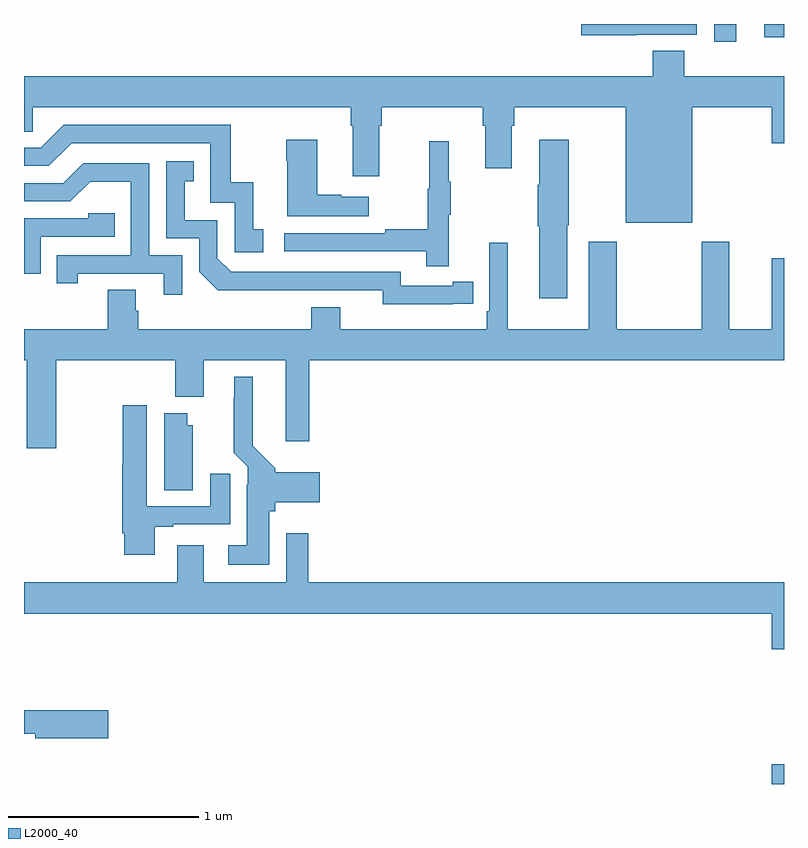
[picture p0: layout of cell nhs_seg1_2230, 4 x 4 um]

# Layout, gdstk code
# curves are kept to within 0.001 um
import gdstk
lib = gdstk.Library(unit=1e-6, precision=1e-09)
def R(c, l, rs):  # rectangles x0, y0, x1, y1
    for r in rs: c.add(gdstk.rectangle(r[:2], r[2:], *l))
def P(c, l, *ps):  # polygons
    for p in ps: c.add(gdstk.Polygon(p, *l))
L2000_40 = (2000, 40)

nhs_seg1_2230 = lib.new_cell('nhs_seg1_2230')
R(nhs_seg1_2230, L2000_40, [(236.936,520.199,237,520.303), (236.634,524.106,236.749,524.199), (236.895,524.129,237,524.199)])
P(nhs_seg1_2230, L2000_40, [(236.225,524.142),(236.541,524.142),(236.541,524.199),(235.933,524.199),(235.933,524.141),(236.225,524.141)],
  [(236.518,523.76),(236.936,523.76),(236.936,523.572),(237,523.572),(237,523.924),(236.474,523.924),(236.474,524.057),(236.309,524.057),(236.309,523.924),(233,523.924),(233,523.633),(233.046,523.633),(233.046,523.76),(234.719,523.76),(234.719,523.664),(234.731,523.664),(234.731,523.398),(234.871,523.398),(234.871,523.664),(234.884,523.664),(234.884,523.76),(235.415,523.76),(235.415,523.664),(235.427,523.664),(235.427,523.44),(235.567,523.44),(235.567,523.664),(235.58,523.664),(235.58,523.76),(236.168,523.76),(236.168,523.154),(236.518,523.154)],
  [(234.259,523.119),(234.206,523.119),(234.206,523.366),(234.088,523.366),(234.088,523.668),(233.208,523.668),(233.088,523.548),(233,523.548),(233,523.452),(233.13,523.452),(233.25,523.572),(233.979,523.572),(233.979,523.257),(234.108,523.257),(234.108,522.999),(234.259,522.999)],
  [(235.858,523.141),(235.866,523.141),(235.866,523.591),(235.712,523.591),(235.712,523.352),(235.705,523.352),(235.705,523.135),(235.712,523.135),(235.712,522.756),(235.858,522.756)],
  [(234.814,523.291),(234.671,523.291),(234.671,523.301),(234.544,523.301),(234.544,523.591),(234.379,523.591),(234.379,523.478),(234.386,523.478),(234.386,523.187),(234.814,523.187)],
  [(235.235,523.195),(235.246,523.195),(235.246,523.369),(235.235,523.369),(235.235,523.582),(235.132,523.582),(235.132,523.332),(235.125,523.332),(235.125,523.118),(234.901,523.118),(234.901,523.098),(234.369,523.098),(234.369,523.002),(235.117,523.002),(235.117,522.924),(235.235,522.924)],
  [(235.256,522.726),(235.364,522.726),(235.364,522.842),(235.256,522.842),(235.256,522.822),(234.984,522.822),(234.984,522.894),(234.09,522.894),(234.018,522.966),(234.018,523.167),(233.845,523.167),(233.845,523.371),(233.894,523.371),(233.894,523.477),(233.748,523.477),(233.748,523.071),(233.922,523.071),(233.922,522.894),(234.02,522.797),(234.888,522.798),(234.888,522.725)],
  [(233.832,522.981),(233.658,522.981),(233.658,523.467),(233.312,523.467),(233.207,523.362),(233,523.362),(233,523.266),(233.244,523.266),(233.348,523.37),(233.562,523.37),(233.562,522.981),(233.173,522.981),(233.173,522.834),(233.284,522.834),(233.284,522.885),(233.735,522.885),(233.735,522.774),(233.832,522.774)],
  [(233.088,523.08),(233.477,523.08),(233.477,523.203),(233.337,523.203),(233.337,523.176),(233,523.176),(233,522.885),(233.088,522.885)],
  [(233.169,522.428),(233.795,522.428),(233.795,522.236),(233.947,522.236),(233.947,522.428),(234.377,522.428),(234.377,522.003),(234.5,522.003),(234.5,522.428),(237,522.428),(237,522.967),(236.936,522.967),(236.936,522.592),(236.713,522.592),(236.713,523.054),(236.566,523.054),(236.566,522.592),(236.121,522.592),(236.121,523.054),(235.973,523.054),(235.973,522.592),(235.546,522.592),(235.546,523.048),(235.449,523.048),(235.449,522.688),(235.436,522.688),(235.436,522.592),(234.664,522.592),(234.664,522.709),(234.512,522.709),(234.512,522.592),(233.6,522.592),(233.6,522.69),(233.587,522.69),(233.587,522.8),(233.44,522.8),(233.44,522.592),(233,522.592),(233,522.428),(233.014,522.428),(233.014,521.967),(233.169,521.967)],
  [(234.292,521.634),(234.323,521.634),(234.323,521.681),(234.556,521.681),(234.556,521.839),(234.323,521.839),(234.323,521.862),(234.205,521.98),(234.205,522.343),(234.107,522.343),(234.107,522.233),(234.103,522.233),(234.103,521.942),(234.177,521.868),(234.177,521.774),(234.173,521.774),(234.173,521.455),(234.075,521.455),(234.075,521.354),(234.292,521.354)],
  [(233.689,521.553),(233.785,521.553),(233.785,521.565),(234.085,521.565),(234.085,521.833),(233.981,521.833),(233.981,521.661),(233.647,521.661),(233.647,522.193),(233.521,522.193),(233.521,521.88),(233.516,521.88),(233.516,521.518),(233.528,521.518),(233.528,521.406),(233.689,521.406)],
  [(233.887,522.087),(233.86,522.087),(233.86,522.151),(233.738,522.151),(233.738,521.746),(233.887,521.746)],
  [(237,521.26),(234.497,521.26),(234.497,521.52),(234.381,521.52),(234.381,521.26),(233.947,521.26),(233.947,521.455),(233.807,521.455),(233.807,521.26),(233,521.26),(233,521.096),(236.936,521.096),(236.936,520.908),(237,520.908)],
  [(233.443,520.586),(233,520.586),(233,520.463),(233.058,520.463),(233.058,520.439),(233.443,520.439)])

lib.write_gds('nhs_seg1_2230.gds')
